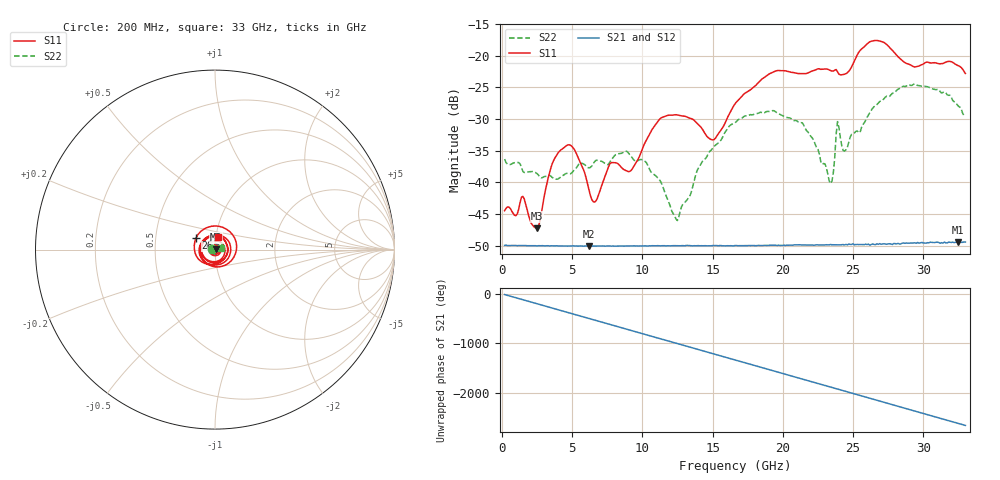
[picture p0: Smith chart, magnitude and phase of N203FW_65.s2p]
# GHZ S RI R 50
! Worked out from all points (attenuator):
!   329 points, 200 MHz to 33 GHz, reference 50 ohm
!   highest |S21| = -49.42 dB at 32.5 GHz (marker M1); lowest = -50.1 dB at 6.2 GHz (marker M2)
!   lowest |S11| = -47.2 dB at 2.5 GHz (marker M3), VSWR 1.01, Z = 50.4 + j0.245 ohm
!   |S11| at or under -10 dB: start of sweep to end of sweep
!   |S22| runs from -46.1 to -24.4 dB; largest |S21 - S12| = 8.8e-05
!   S11 on the Smith chart (normalised r, x): 200 MHz: 1.01, +0.00; 26 GHz: 0.80, +0.10; 33 GHz: 1.03, +0.14
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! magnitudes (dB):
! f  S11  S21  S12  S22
! 200 MHz  -44.5  -50.0  -49.9  -36.3
! 1.5 GHz  -42.2  -50.0  -50.0  -38.3
! 2.5 GHz  -47.2  -50.0  -50.0  -38.6
! 4 GHz  -35.4  -50.1  -50.0  -39.5
! 5.7 GHz  -37.4  -50.1  -50.1  -37.0
! 6.2 GHz  -41.2  -50.1  -50.1  -37.7
! 7.8 GHz  -36.9  -50.1  -50.1  -36.4
! 8.8 GHz  -38.1  -50.1  -50.0  -35.1
! 11.2 GHz  -30.1  -50.0  -50.0  -39.5
! 12.5 GHz  -29.4  -50.0  -50.0  -46.1
! 15.1 GHz  -33.3  -50.0  -50.0  -34.3
! 16.6 GHz  -27.6  -50.0  -50.0  -30.6
! 19.3 GHz  -22.6  -49.9  -49.9  -28.7
! 22.1 GHz  -22.4  -49.9  -49.9  -33.0
! 23.4 GHz  -22.3  -49.8  -49.8  -40.2
! 23.9 GHz  -22.5  -49.9  -49.9  -30.4
! 24.4 GHz  -22.9  -49.9  -49.8  -35.1
! 26 GHz  -18.1  -49.8  -49.8  -29.7
! 27.6 GHz  -18.7  -49.7  -49.7  -26.4
! 29.4 GHz  -21.8  -49.6  -49.6  -24.4
! 32.5 GHz  -21.6  -49.4  -49.4  -28.0
! 33 GHz  -22.8  -49.4  -49.5  -29.6
